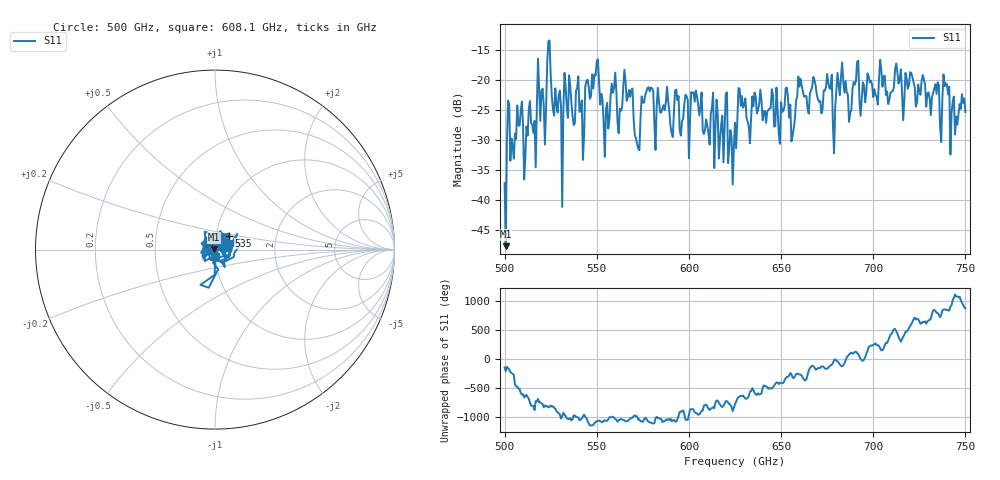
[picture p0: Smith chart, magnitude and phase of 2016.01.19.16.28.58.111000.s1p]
!Created with skrf (http://scikit-rf.org).
# GHz S RI R 50.0
!freq ReS11 ImS11
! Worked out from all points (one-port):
!   401 points, 500 GHz to 750 GHz, reference 50 ohm
!   lowest |S11| = -47.7 dB at 500.6 GHz (marker M1), VSWR 1.01, Z = 49.6 + j0.192 ohm
!   |S11| at or under -10 dB: start of sweep to end of sweep
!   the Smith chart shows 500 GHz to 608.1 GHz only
!   S11 on the Smith chart (normalised r, x): 500 GHz: 0.98, -0.02; 535 GHz: 1.15, +0.18; 608.1 GHz: 1.01, -0.07
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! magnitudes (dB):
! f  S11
! 500 GHz  -37.2
! 500.6 GHz  -47.7
! 502.5 GHz  -24.0
! 515.6 GHz  -28.8
! 524.4 GHz  -13.3
! 531.2 GHz  -41.1
! 535 GHz  -19.2
! 541.9 GHz  -23.3
! 550 GHz  -16.8
! 555 GHz  -24.8
! 559.4 GHz  -21.3
! 562.5 GHz  -24.7
! 568.1 GHz  -22.8
! 571.9 GHz  -30.5
! 578.1 GHz  -21.1
! 590.6 GHz  -28.9
! 593.8 GHz  -23.3
! 608.1 GHz  -29.0
! 625 GHz  -27.1
! 628.1 GHz  -24.3
! 632.5 GHz  -27.8
! 653.8 GHz  -22.9
! 656.2 GHz  -29.2
! 660.6 GHz  -19.8
! 687.5 GHz  -25.5
! 690.6 GHz  -20.1
! 718.8 GHz  -21.4
! 750 GHz  -25.3
